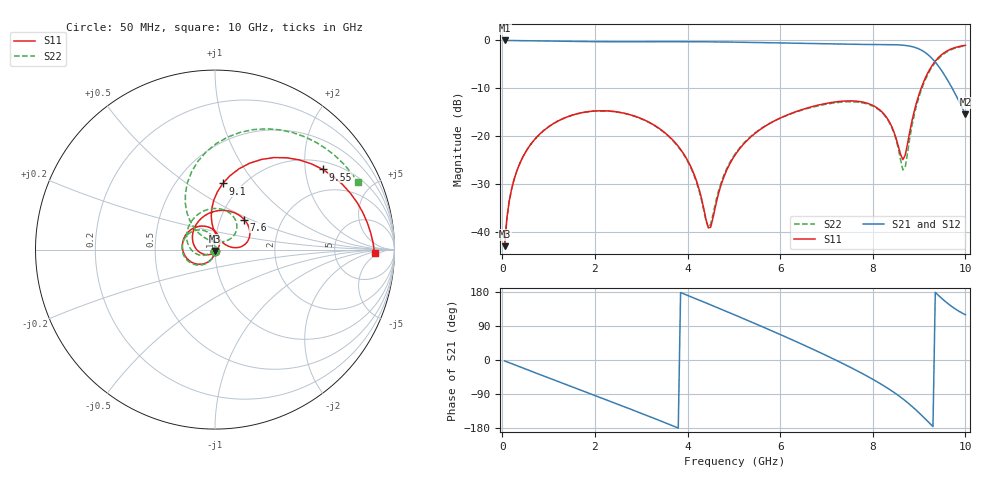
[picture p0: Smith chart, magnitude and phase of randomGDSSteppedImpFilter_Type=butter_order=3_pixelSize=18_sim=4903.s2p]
! freq	dB(S11)	phase(S11)	dB(S12)	phase(S12)
!  dB(S21)	phase(S21)	dB(S22)	phase(S22)
!S-par simulation data
#  GHz  S  DB  R 50
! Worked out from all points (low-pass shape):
!   200 points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, 50 MHz to 10 GHz, reference 50 ohm
!   highest |S21| = 0.00 dB at 50 MHz (marker M1); lowest = -15.4 dB at 10 GHz (marker M2)
!   |S21| within 3 dB of the highest: start of sweep to 9.196 GHz
!   lowest |S11| = -42.9 dB at 50 MHz (marker M3), VSWR 1.01, Z = 50 - j0.714 ohm
!   |S11| at or under -10 dB: start of sweep to 9.044 GHz
!   |S22| runs from -42.9 to -1.1 dB; largest |S21 - S12| = 0
!   S11 on the Smith chart (normalised r, x): 50 MHz: 1.00, -0.01; 7.6 GHz: 1.30, +0.46; 9.1 GHz: 0.82, +0.70; 9.55 GHz: 1.23, +2.49; 10 GHz: 17, -3
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0.05  -42.92 -91.2  -0.00 -2.4  -0.00 -2.4  -42.92 -91.1
0.1  -36.99 -94.3  -0.01 -4.8  -0.01 -4.8  -36.99 -94.0
0.2  -31.05 -99.8  -0.02 -9.5  -0.02 -9.5  -31.05 -99.2
0.5  -23.34 -115.1  -0.05 -23.7  -0.05 -23.7  -23.34 -113.5
1.15  -17.09 -147.0  -0.15 -54.2  -0.15 -54.2  -17.09 -143.2
1.75  -15.02 -176.2  -0.23 -82.1  -0.23 -82.1  -15.02 -170.0
2.55  -15.03 144.3  -0.28 -119.4  -0.28 -119.4  -15.05 154.8
3.4  -18.44 99.6  -0.26 -159.9  -0.26 -159.9  -18.49 118.4
4.05  -25.94 58.3  -0.26 168.1  -0.26 168.1  -26.14 96.0
4.45  -39.12 -29.3  -0.29 148.0  -0.29 148.0  -39.01 150.1
4.75  -29.39 -130.6  -0.32 132.8  -0.32 132.8  -28.98 -146.7
5.05  -23.57 -156.4  -0.36 117.3  -0.36 117.3  -23.36 -152.2
5.85  -16.92 152.0  -0.50 75.4  -0.50 75.4  -16.90 174.6
6.7  -13.79 99.9  -0.66 28.8  -0.66 28.8  -13.91 133.2
7.6  -12.64 45.9  -0.81 -24.5  -0.81 -24.5  -12.82 83.0
8.35  -16.85 6.1  -0.87 -76.7  -0.87 -76.7  -16.97 38.3
8.7  -23.96 69.4  -1.04 -107.4  -1.04 -107.4  -26.51 102.8
8.9  -14.58 96.4  -1.43 -128.1  -1.43 -128.1  -15.34 133.8
9.1  -8.61 83.2  -2.31 -151.3  -2.31 -151.3  -9.01 117.7
9.35  -4.32 57.5  -4.52 178.4  -4.52 178.4  -4.58 89.3
9.55  -2.52 36.6  -7.23 156.1  -7.23 156.1  -2.70 66.7
10  -1.02 -1.1  -15.44 119.5  -15.44 119.5  -1.12 25.5
